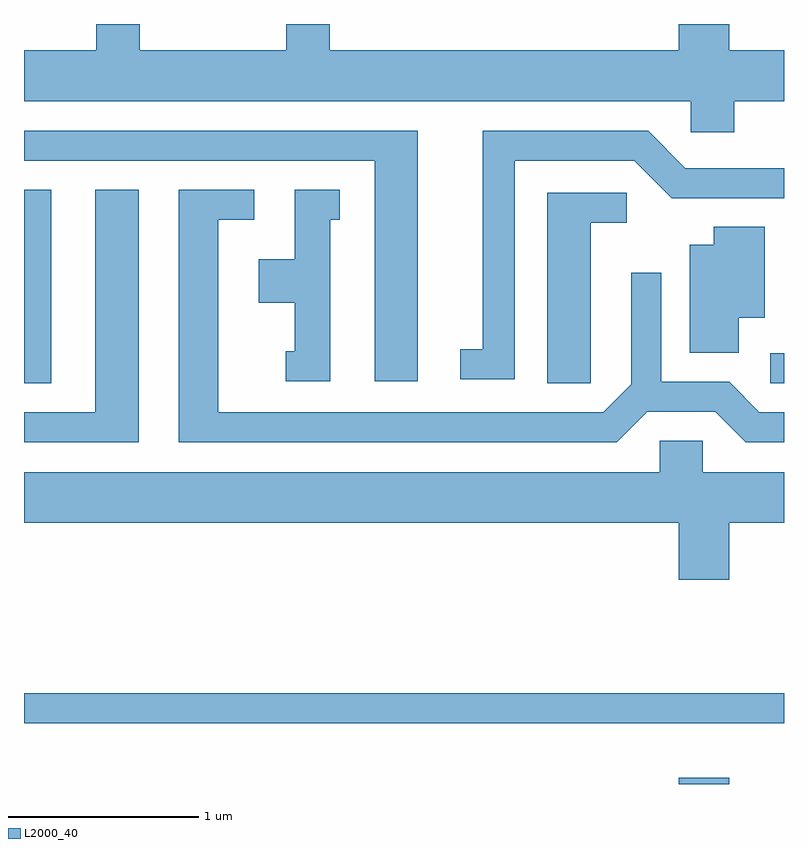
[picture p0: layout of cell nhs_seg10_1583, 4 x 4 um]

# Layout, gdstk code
import gdstk
lib = gdstk.Library(unit=1e-6, precision=1e-09)
def R(c, l, rs):  # rectangles x0, y0, x1, y1
    for r in rs: c.add(gdstk.rectangle(r[:2], r[2:], *l))
def P(c, l, *ps):  # polygons
    for p in ps: c.add(gdstk.Polygon(p, *l))
L2000_40 = (2000, 40)

nhs_seg10_1583 = lib.new_cell('nhs_seg10_1583')
R(nhs_seg10_1583, L2000_40, [(235.056,2132.522,235.324,2132.554), (231.611,2132.841,235.611,2132.999), (231.611,2134.631,231.754,2135.649), (235.538,2134.631,235.611,2134.789)])
P(nhs_seg10_1583, L2000_40, [(235.324,2136.522),(235.056,2136.522),(235.056,2136.384),(233.219,2136.384),(233.219,2136.522),(232.991,2136.522),(232.991,2136.384),(232.219,2136.384),(232.219,2136.522),(231.991,2136.522),(231.991,2136.384),(231.611,2136.384),(231.611,2136.116),(235.121,2136.116),(235.121,2135.951),(235.349,2135.951),(235.349,2136.116),(235.611,2136.116),(235.611,2136.384),(235.324,2136.384)],
  [(233.684,2135.959),(231.611,2135.959),(231.611,2135.801),(233.456,2135.801),(233.456,2134.641),(233.684,2134.641)],
  [(234.194,2135.801),(234.824,2135.801),(235.019,2135.606),(235.611,2135.606),(235.611,2135.764),(235.092,2135.764),(234.897,2135.959),(234.026,2135.959),(234.026,2134.809),(233.908,2134.809),(233.908,2134.651),(234.194,2134.651)],
  [(234.892,2134.481),(235.249,2134.481),(235.409,2134.321),(235.611,2134.321),(235.611,2134.479),(235.482,2134.479),(235.322,2134.639),(234.964,2134.639),(234.964,2135.213),(234.806,2135.213),(234.806,2134.627),(234.659,2134.479),(232.634,2134.479),(232.634,2135.491),(232.823,2135.491),(232.823,2135.649),(232.426,2135.649),(232.426,2134.321),(234.732,2134.321)],
  [(232.214,2135.649),(231.986,2135.649),(231.986,2134.479),(231.611,2134.479),(231.611,2134.321),(232.214,2134.321)],
  [(233.224,2135.491),(233.273,2135.491),(233.273,2135.649),(233.036,2135.649),(233.036,2135.284),(232.846,2135.284),(232.846,2135.056),(233.036,2135.056),(233.036,2134.799),(232.988,2134.799),(232.988,2134.641),(233.224,2134.641)],
  [(234.594,2135.476),(234.783,2135.476),(234.783,2135.634),(234.366,2135.634),(234.366,2134.631),(234.594,2134.631)],
  [(235.374,2134.976),(235.509,2134.976),(235.509,2135.454),(235.241,2135.454),(235.241,2135.359),(235.116,2135.359),(235.116,2134.791),(235.374,2134.791)],
  [(235.324,2133.896),(235.611,2133.896),(235.611,2134.164),(235.184,2134.164),(235.184,2134.329),(234.956,2134.329),(234.956,2134.164),(231.611,2134.164),(231.611,2133.896),(235.056,2133.896),(235.056,2133.596),(235.324,2133.596)])

lib.write_gds('nhs_seg10_1583.gds')
